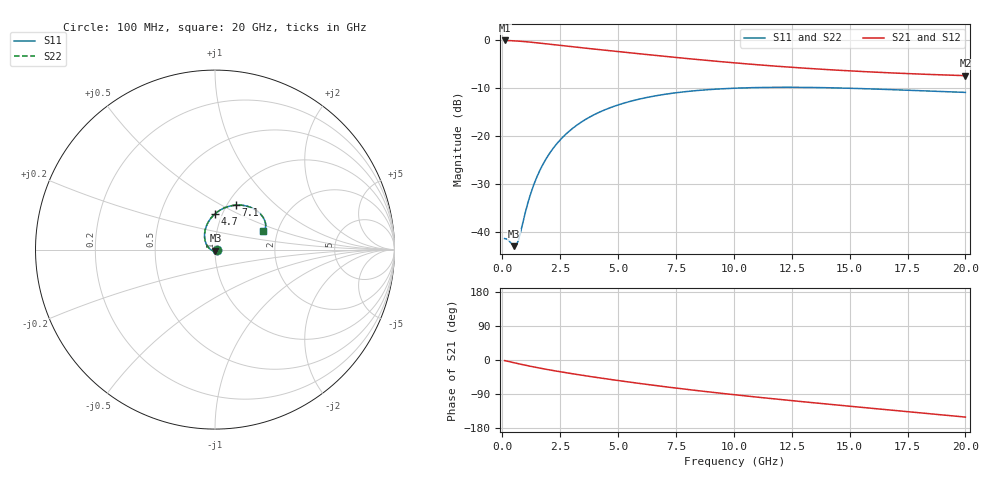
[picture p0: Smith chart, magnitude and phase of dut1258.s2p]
! Touchstone file exported from HFSS 2024.1.0
!  File:  C:/UserFiles/LocalFiles/RDL_TSV_Batchsim/temp_RDL_TSV_1258_1780271480.aedt
!  Generated:  08:06:57 AM Jun  1, 2026
!  Design:  RDL_TSV
!  Project:  temp_RDL_TSV_1258_1780271480
!  Setup:  Setup1
!  Solution:  Sweep
! Variables:
!  dtsv = 11.53um
!  hbump = 3um
!  htsv = 59.95um
!  ldown = 402.36um
!  lrdl = 244.31um
!  p = 40
!  p1 = 56.89um
!  rhole = 10um
!  subl = 2184.32um
!  t = 450um
!  tdown = 3.33um
!  trdl = 4.53um
!  viad = 10um
!  wdown = 25.57um
!  wrdl = 27.25um
!  xbump = 18um
# GHz S MA R 50.000000
! Terminal data exported
! Port[1] = TM1_1_T1
! Port[2] = TM1_4_T1
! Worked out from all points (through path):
!   200 points, 100 MHz to 20 GHz, reference 50 ohm
!   highest |S21| = -0.08 dB at 100 MHz (marker M1); lowest = -7.4 dB at 20 GHz (marker M2)
!   group delay of S21, straight-line fit = 19.6 ps
!   lowest |S11| = -42.9 dB at 500 MHz (marker M3), VSWR 1.01, Z = 50.3 - j0.662 ohm
!   |S11| at or under -10 dB: start of sweep to 10.16 GHz; 14.75 GHz to end of sweep
!   |S22| runs from -42.9 to -9.8 dB; largest |S21 - S12| = 1.5e-14
!   S11 on the Smith chart (normalised r, x): 100 MHz: 1.02, -0.00; 4.7 GHz: 0.92, +0.38; 7.1 GHz: 1.10, +0.59; 20 GHz: 1.67, +0.38
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0.1  0.008578 -7.6  0.9909 -1.5  0.9909 -1.5  0.008577 -7.6
! Gamma 0 0 0 0
! Port Impedance 50 0 50 0
0.3  0.008104 -30.3  0.9874 -4.4  0.9874 -4.4  0.008101 -30.3
0.5  0.007146 -67.2  0.9822 -7.2  0.9822 -7.2  0.00714 -67.2
0.6  0.007263 -91.6  0.9789 -8.5  0.9789 -8.5  0.007258 -91.6
0.7  0.008272 -115.8  0.9753 -9.9  0.9753 -9.9  0.008272 -115.9
1  0.01623 -163.2  0.9623 -13.8  0.9623 -13.8  0.01625 -163.2
1.2  0.02405 -180.0  0.9523 -16.4  0.9523 -16.4  0.02408 180.0
1.5  0.03784 163.1  0.9361 -20.0  0.9361 -20.0  0.03789 163.1
1.8  0.05316 150.7  0.9193 -23.5  0.9193 -23.5  0.05323 150.7
2.1  0.06931 140.7  0.9023 -26.8  0.9023 -26.8  0.06939 140.6
2.5  0.09128 129.6  0.8801 -31.0  0.8801 -31.0  0.0914 129.5
3  0.1184 118.0  0.8536 -36.0  0.8536 -36.0  0.1186 118.0
3.5  0.1444 108.4  0.8284 -40.8  0.8284 -40.8  0.1445 108.3
4.7  0.1992 89.9  0.7723 -51.6  0.7723 -51.6  0.1995 89.9
5.7  0.236 78.0  0.7292 -60.0  0.7292 -60.0  0.2363 77.9
6.8  0.2673 67.2  0.6853 -68.8  0.6853 -68.8  0.2676 67.2
7.1  0.2743 64.6  0.6739 -71.1  0.6739 -71.1  0.2747 64.6
8.6  0.3009 53.3  0.6217 -82.0  0.6217 -82.0  0.3013 53.3
10.1  0.3158 44.4  0.5771 -92.1  0.5771 -92.1  0.3162 44.4
13.4  0.321 30.7  0.5036 -112.6  0.5036 -112.6  0.3214 30.7
16.7  0.3055 23.3  0.4563 -131.7  0.4563 -131.7  0.3059 23.3
20  0.2852 21.4  0.426 -150.6  0.426 -150.6  0.2856 21.4
